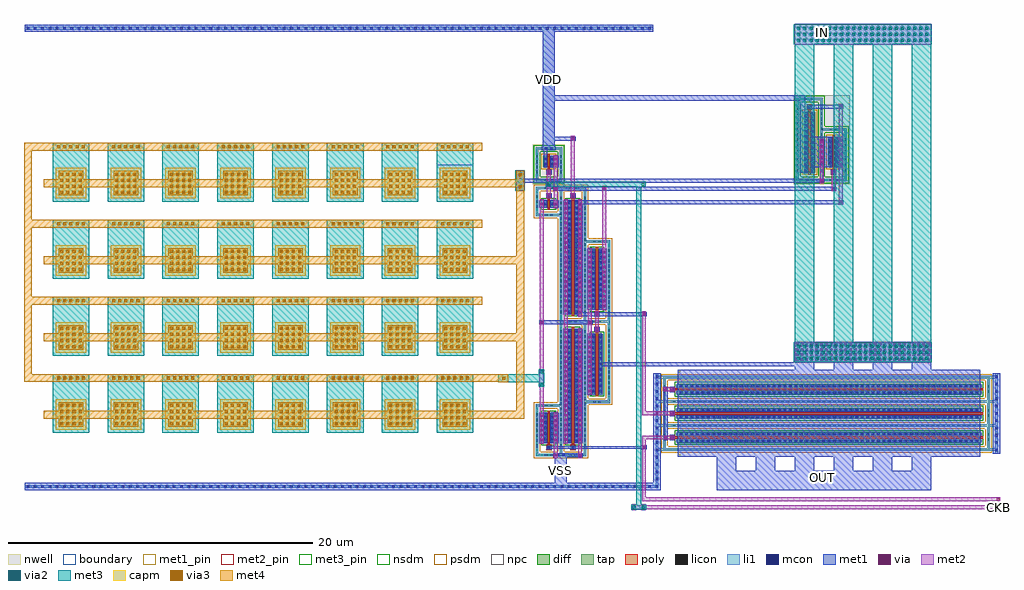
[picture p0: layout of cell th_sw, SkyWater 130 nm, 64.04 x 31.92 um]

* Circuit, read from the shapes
.subckt th_sw CK CKB IN OUT VDD VSS
XM1 VSS CK n1 VSS sky130_fd_pr__nfet_01v8 w=2 l=0.15
XM2 n2 CKB n1 VSS sky130_fd_pr__nfet_01v8 w=0.5 l=0.15
XM3 VSS CK n3 VSS sky130_fd_pr__nfet_01v8 w=7.5 l=0.15
XM4 bootstrap_0/VGS VDD n3 VSS sky130_fd_pr__nfet_01v8 w=7.5 l=0.15
XM5 IN bootstrap_0/VGS n1 VSS sky130_fd_pr__nfet_01v8 w=4 l=0.15
XM6 n2 bootstrap_0/VGS n1 VSS sky130_fd_pr__nfet_01v8 w=4 l=0.15
XM7 OUT CK OUT VSS sky130_fd_pr__nfet_01v8 w=20 l=0.15
XM8 IN bootstrap_0/VGS OUT VSS sky130_fd_pr__nfet_01v8 w=20 l=0.15
XM9 IN CK IN VSS sky130_fd_pr__nfet_01v8 w=20 l=0.15
XM10 n2 CKB VDD VDD sky130_fd_pr__pfet_01v8 w=0.75 l=0.15
XM11 n4 bootstrap_0/VGS VDD n4 sky130_fd_pr__pfet_01v8 w=4 l=0.15
XM12 bootstrap_0/VGS n2 n4 n4 sky130_fd_pr__pfet_01v8 w=2 l=0.15
XC13 n4 n1 sky130_fd_pr__cap_mim_m3_1 w=2 l=2 m=32
.ends

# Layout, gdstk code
from math import pi, radians
import gdstk
lib = gdstk.Library(unit=1e-6, precision=1e-09)
def R(c, l, rs):  # rectangles x0, y0, x1, y1
    for r in rs: c.add(gdstk.rectangle(r[:2], r[2:], *l))
def A(c, l, x, y, w, h, nx, ny, dx, dy):  # array of equal rectangles
    R(c, l, [(x+i*dx, y+j*dy, x+i*dx+w, y+j*dy+h) for i in range(nx) for j in range(ny)])
nwell = (64, 20)
diff = (65, 20)
tap = (65, 44)
poly = (66, 20)
licon = (66, 44)
li1 = (67, 20)
mcon = (67, 44)
met1_pin = (68, 16)
met1 = (68, 20)
via = (68, 44)
met2_pin = (69, 16)
met2 = (69, 20)
via2 = (69, 44)
met3_pin = (70, 16)
met3 = (70, 20)
via3 = (70, 44)
met4 = (71, 20)
capm = (89, 44)
nsdm = (93, 44)
psdm = (94, 20)
npc = (95, 20)
boundary = (235, 4)

sky130_fd_pr__cap_mim_m3 = lib.new_cell('sky130_fd_pr__cap_mim_m3_1_BP38H4')
A(sky130_fd_pr__cap_mim_m3, met3, -9.52, -13.8, 3.86, 2.4, 4, 8, 5.06, 3.6)
A(sky130_fd_pr__cap_mim_m3, via3, -6.02, -13.5, 0.2, 0.2, 4, 5, 5.06, 0.4)
A(sky130_fd_pr__cap_mim_m3, via3, -9.02, -13.3, 0.2, 0.2, 4, 4, 0.4, 0.4)
A(sky130_fd_pr__cap_mim_m3, via3, -3.96, -13.3, 0.2, 0.2, 4, 4, 0.4, 0.4)
A(sky130_fd_pr__cap_mim_m3, via3, 1.1, -13.3, 0.2, 0.2, 4, 4, 0.4, 0.4)
A(sky130_fd_pr__cap_mim_m3, via3, 6.16, -13.3, 0.2, 0.2, 4, 4, 0.4, 0.4)
A(sky130_fd_pr__cap_mim_m3, via3, -6.02, -9.9, 0.2, 0.2, 4, 5, 5.06, 0.4)
A(sky130_fd_pr__cap_mim_m3, via3, -9.02, -9.7, 0.2, 0.2, 4, 4, 0.4, 0.4)
A(sky130_fd_pr__cap_mim_m3, via3, -3.96, -9.7, 0.2, 0.2, 4, 4, 0.4, 0.4)
A(sky130_fd_pr__cap_mim_m3, via3, 1.1, -9.7, 0.2, 0.2, 4, 4, 0.4, 0.4)
A(sky130_fd_pr__cap_mim_m3, via3, 6.16, -9.7, 0.2, 0.2, 4, 4, 0.4, 0.4)
A(sky130_fd_pr__cap_mim_m3, via3, -6.02, -6.3, 0.2, 0.2, 4, 5, 5.06, 0.4)
A(sky130_fd_pr__cap_mim_m3, via3, -9.02, -6.1, 0.2, 0.2, 4, 4, 0.4, 0.4)
A(sky130_fd_pr__cap_mim_m3, via3, -3.96, -6.1, 0.2, 0.2, 4, 4, 0.4, 0.4)
A(sky130_fd_pr__cap_mim_m3, via3, 1.1, -6.1, 0.2, 0.2, 4, 4, 0.4, 0.4)
A(sky130_fd_pr__cap_mim_m3, via3, 6.16, -6.1, 0.2, 0.2, 4, 4, 0.4, 0.4)
A(sky130_fd_pr__cap_mim_m3, via3, -6.02, -2.7, 0.2, 0.2, 4, 5, 5.06, 0.4)
A(sky130_fd_pr__cap_mim_m3, via3, -9.02, -2.5, 0.2, 0.2, 4, 4, 0.4, 0.4)
A(sky130_fd_pr__cap_mim_m3, via3, -3.96, -2.5, 0.2, 0.2, 4, 4, 0.4, 0.4)
A(sky130_fd_pr__cap_mim_m3, via3, 1.1, -2.5, 0.2, 0.2, 4, 4, 0.4, 0.4)
A(sky130_fd_pr__cap_mim_m3, via3, 6.16, -2.5, 0.2, 0.2, 4, 4, 0.4, 0.4)
A(sky130_fd_pr__cap_mim_m3, via3, -6.02, 0.9, 0.2, 0.2, 4, 5, 5.06, 0.4)
A(sky130_fd_pr__cap_mim_m3, via3, -9.02, 1.1, 0.2, 0.2, 4, 4, 0.4, 0.4)
A(sky130_fd_pr__cap_mim_m3, via3, -3.96, 1.1, 0.2, 0.2, 4, 4, 0.4, 0.4)
A(sky130_fd_pr__cap_mim_m3, via3, 1.1, 1.1, 0.2, 0.2, 4, 4, 0.4, 0.4)
A(sky130_fd_pr__cap_mim_m3, via3, 6.16, 1.1, 0.2, 0.2, 4, 4, 0.4, 0.4)
A(sky130_fd_pr__cap_mim_m3, via3, -6.02, 4.5, 0.2, 0.2, 4, 5, 5.06, 0.4)
A(sky130_fd_pr__cap_mim_m3, via3, -9.02, 4.7, 0.2, 0.2, 4, 4, 0.4, 0.4)
A(sky130_fd_pr__cap_mim_m3, via3, -3.96, 4.7, 0.2, 0.2, 4, 4, 0.4, 0.4)
A(sky130_fd_pr__cap_mim_m3, via3, 1.1, 4.7, 0.2, 0.2, 4, 4, 0.4, 0.4)
A(sky130_fd_pr__cap_mim_m3, via3, 6.16, 4.7, 0.2, 0.2, 4, 4, 0.4, 0.4)
A(sky130_fd_pr__cap_mim_m3, via3, -6.02, 8.1, 0.2, 0.2, 4, 5, 5.06, 0.4)
A(sky130_fd_pr__cap_mim_m3, via3, -9.02, 8.3, 0.2, 0.2, 4, 4, 0.4, 0.4)
A(sky130_fd_pr__cap_mim_m3, via3, -3.96, 8.3, 0.2, 0.2, 4, 4, 0.4, 0.4)
A(sky130_fd_pr__cap_mim_m3, via3, 1.1, 8.3, 0.2, 0.2, 4, 4, 0.4, 0.4)
A(sky130_fd_pr__cap_mim_m3, via3, 6.16, 8.3, 0.2, 0.2, 4, 4, 0.4, 0.4)
A(sky130_fd_pr__cap_mim_m3, via3, -6.02, 11.7, 0.2, 0.2, 4, 5, 5.06, 0.4)
A(sky130_fd_pr__cap_mim_m3, via3, -9.02, 11.9, 0.2, 0.2, 4, 4, 0.4, 0.4)
A(sky130_fd_pr__cap_mim_m3, via3, -3.96, 11.9, 0.2, 0.2, 4, 4, 0.4, 0.4)
A(sky130_fd_pr__cap_mim_m3, via3, 1.1, 11.9, 0.2, 0.2, 4, 4, 0.4, 0.4)
A(sky130_fd_pr__cap_mim_m3, via3, 6.16, 11.9, 0.2, 0.2, 4, 4, 0.4, 0.4)
A(sky130_fd_pr__cap_mim_m3, met4, -8.58, -14.4, 0.52, 0.995, 4, 2, 5.06, 27.805)
A(sky130_fd_pr__cap_mim_m3, met4, -6.18, -14.4, 0.52, 28.8, 4, 1, 5.06, 0)
A(sky130_fd_pr__cap_mim_m3, met4, -9.125, -13.405, 1.61, 1.61, 4, 8, 5.06, 3.6)
A(sky130_fd_pr__cap_mim_m3, met4, -8.58, -11.795, 0.52, 1.99, 4, 7, 5.06, 3.6)
A(sky130_fd_pr__cap_mim_m3, capm, -9.32, -13.6, 2, 2, 4, 8, 5.06, 3.6)
R(sky130_fd_pr__cap_mim_m3, boundary, [(5.66,11.4,8.06,13.8)])

sky130_fd_pr__nfet_01v8_ = lib.new_cell('sky130_fd_pr__nfet_01v8_CQKS6Z')
R(sky130_fd_pr__nfet_01v8_, diff, [(-0.365,-0.405,0.365,0.095)])
R(sky130_fd_pr__nfet_01v8_, tap, [(-0.875,-0.965,0.875,-0.795), (-0.875,-0.795,-0.705,0.795), (0.705,-0.795,0.875,0.795), (-0.875,0.795,0.875,0.965)])
R(sky130_fd_pr__nfet_01v8_, poly, [(-0.075,-0.535,0.075,0.205), (-0.165,0.205,0.165,0.535)])
A(sky130_fd_pr__nfet_01v8_, licon, -0.875, -0.425, 0.17, 0.17, 1, 3, 0, 0.34)
R(sky130_fd_pr__nfet_01v8_, licon, [(-0.255,-0.965,-0.085,-0.795), (0.085,-0.965,0.255,-0.795), (-0.305,-0.24,-0.135,-0.07), (0.135,-0.24,0.305,-0.07), (-0.085,0.285,0.085,0.455), (-0.255,0.795,-0.085,0.965), (0.085,0.795,0.255,0.965)])
R(sky130_fd_pr__nfet_01v8_, li1, [(-0.875,-0.965,0.875,-0.795), (-0.875,-0.795,-0.705,0.795), (0.705,-0.795,0.875,0.795), (-0.305,-0.425,-0.135,0.115), (0.135,-0.425,0.305,0.115), (-0.165,0.285,0.165,0.455), (-0.875,0.795,0.875,0.965)])
R(sky130_fd_pr__nfet_01v8_, mcon, [(-0.305,-0.24,-0.135,-0.07), (0.135,-0.24,0.305,-0.07), (-0.085,0.285,0.085,0.455)])
R(sky130_fd_pr__nfet_01v8_, met1, [(-0.335,-0.405,-0.105,0.095), (0.105,-0.405,0.335,0.095), (-0.145,0.255,0.145,0.485)])
R(sky130_fd_pr__nfet_01v8_, nsdm, [(-0.49,-0.53,0.49,0.22)])
R(sky130_fd_pr__nfet_01v8_, psdm, [(-1,-1.09,1,-0.67), (-1,-0.67,-0.58,0.67), (0.58,-0.67,1,0.67), (-1,0.67,1,1.09)])
R(sky130_fd_pr__nfet_01v8_, npc, [(-0.185,0.185,0.185,0.555)])
R(sky130_fd_pr__nfet_01v8_, boundary, [(-0.79,-0.88,0.79,0.88)])

sky130_fd_pr__pfet_01v8_ = lib.new_cell('sky130_fd_pr__pfet_01v8_LGMQDL')
R(sky130_fd_pr__pfet_01v8_, nwell, [(-1.055,-1.92,1.055,1.92)])
R(sky130_fd_pr__pfet_01v8_, diff, [(-0.365,-0.82,0.365,1.18)])
R(sky130_fd_pr__pfet_01v8_, tap, [(-0.875,-1.74,0.875,-1.57), (-0.875,-1.57,-0.705,1.57), (0.705,-1.57,0.875,1.57), (-0.875,1.57,0.875,1.74)])
R(sky130_fd_pr__pfet_01v8_, poly, [(-0.165,-1.305,0.165,-0.975), (-0.075,-0.975,0.075,1.31)])
A(sky130_fd_pr__pfet_01v8_, licon, 0.705, -1.105, 0.17, 0.17, 1, 7, 0, 0.34)
A(sky130_fd_pr__pfet_01v8_, licon, -0.305, -0.755, 0.17, 0.17, 1, 6, 0, 0.34)
A(sky130_fd_pr__pfet_01v8_, licon, 0.135, -0.755, 0.17, 0.17, 1, 6, 0, 0.34)
R(sky130_fd_pr__pfet_01v8_, licon, [(-0.255,-1.74,-0.085,-1.57), (0.085,-1.74,0.255,-1.57), (-0.085,-1.225,0.085,-1.055), (-0.255,1.57,-0.085,1.74), (0.085,1.57,0.255,1.74)])
R(sky130_fd_pr__pfet_01v8_, li1, [(-0.875,-1.74,0.875,-1.57), (-0.875,-1.57,-0.705,1.57), (0.705,-1.57,0.875,1.57), (-0.165,-1.225,0.165,-1.055), (-0.305,-0.84,-0.135,1.2), (0.135,-0.84,0.305,1.2), (-0.875,1.57,0.875,1.74)])
A(sky130_fd_pr__pfet_01v8_, mcon, -0.305, -0.625, 0.17, 0.17, 1, 5, 0, 0.36)
A(sky130_fd_pr__pfet_01v8_, mcon, 0.135, -0.625, 0.17, 0.17, 1, 5, 0, 0.36)
R(sky130_fd_pr__pfet_01v8_, mcon, [(-0.085,-1.225,0.085,-1.055)])
R(sky130_fd_pr__pfet_01v8_, met1, [(-0.145,-1.255,0.145,-1.025), (-0.335,-0.82,-0.105,1.18), (0.105,-0.82,0.335,1.18)])
R(sky130_fd_pr__pfet_01v8_, nsdm, [(-1,-1.865,1,-1.445), (-1,-1.445,-0.58,1.445), (0.58,-1.445,1,1.445), (-1,1.445,1,1.865)])
R(sky130_fd_pr__pfet_01v8_, psdm, [(-0.49,-0.945,0.49,1.305)])
R(sky130_fd_pr__pfet_01v8_, npc, [(-0.185,-1.325,0.185,-0.955)])
R(sky130_fd_pr__pfet_01v8_, boundary, [(-0.79,-1.655,0.79,1.655)])

c_sky130_fd_pr__pfet_01v8_ = lib.new_cell('sky130_fd_pr__pfet_01v8_MGASDN')
R(c_sky130_fd_pr__pfet_01v8_, nwell, [(-1.055,-2.92,1.055,2.92)])
R(c_sky130_fd_pr__pfet_01v8_, diff, [(-0.365,-2.18,0.365,1.82)])
R(c_sky130_fd_pr__pfet_01v8_, tap, [(-0.875,-2.74,0.875,-2.57), (-0.875,-2.57,-0.705,2.57), (0.705,-2.57,0.875,2.57), (-0.875,2.57,0.875,2.74)])
R(c_sky130_fd_pr__pfet_01v8_, poly, [(-0.075,-2.31,0.075,1.975), (-0.165,1.975,0.165,2.305)])
A(c_sky130_fd_pr__pfet_01v8_, licon, -0.875, -2.125, 0.17, 0.17, 1, 13, 0, 0.34)
A(c_sky130_fd_pr__pfet_01v8_, licon, 0.705, -2.125, 0.17, 0.17, 1, 13, 0, 0.34)
A(c_sky130_fd_pr__pfet_01v8_, licon, -0.305, -1.965, 0.17, 0.17, 1, 11, 0, 0.34)
A(c_sky130_fd_pr__pfet_01v8_, licon, 0.135, -1.965, 0.17, 0.17, 1, 11, 0, 0.34)
R(c_sky130_fd_pr__pfet_01v8_, licon, [(-0.255,-2.74,-0.085,-2.57), (0.085,-2.74,0.255,-2.57), (-0.085,2.055,0.085,2.225), (-0.255,2.57,-0.085,2.74), (0.085,2.57,0.255,2.74)])
R(c_sky130_fd_pr__pfet_01v8_, li1, [(-0.875,-2.74,0.875,-2.57), (-0.875,-2.57,-0.705,2.57), (0.705,-2.57,0.875,2.57), (-0.305,-2.2,-0.135,1.84), (0.135,-2.2,0.305,1.84), (-0.165,2.055,0.165,2.225), (-0.875,2.57,0.875,2.74)])
A(c_sky130_fd_pr__pfet_01v8_, mcon, -0.305, -2.065, 0.17, 0.17, 1, 11, 0, 0.36)
A(c_sky130_fd_pr__pfet_01v8_, mcon, 0.135, -2.065, 0.17, 0.17, 1, 11, 0, 0.36)
R(c_sky130_fd_pr__pfet_01v8_, mcon, [(-0.085,2.055,0.085,2.225)])
R(c_sky130_fd_pr__pfet_01v8_, met1, [(-0.335,-2.18,-0.105,1.82), (0.105,-2.18,0.335,1.82), (-0.145,2.025,0.145,2.255)])
R(c_sky130_fd_pr__pfet_01v8_, nsdm, [(-1,-2.865,1,-2.445), (-1,-2.445,-0.58,2.445), (0.58,-2.445,1,2.445), (-1,2.445,1,2.865)])
R(c_sky130_fd_pr__pfet_01v8_, psdm, [(-0.49,-2.305,0.49,1.945)])
R(c_sky130_fd_pr__pfet_01v8_, npc, [(-0.185,1.955,0.185,2.325)])
R(c_sky130_fd_pr__pfet_01v8_, boundary, [(-0.79,-2.655,0.79,2.655)])

c_sky130_fd_pr__pfet_01v8__ = lib.new_cell('sky130_fd_pr__pfet_01v8_27QFPY')
R(c_sky130_fd_pr__pfet_01v8__, nwell, [(-1.055,-1.295,1.055,1.295)])
R(c_sky130_fd_pr__pfet_01v8__, diff, [(-0.365,-0.195,0.365,0.555)])
R(c_sky130_fd_pr__pfet_01v8__, tap, [(-0.875,-1.115,0.875,-0.945), (-0.875,-0.945,-0.705,0.945), (0.705,-0.945,0.875,0.945), (-0.875,0.945,0.875,1.115)])
R(c_sky130_fd_pr__pfet_01v8__, poly, [(-0.165,-0.68,0.165,-0.35), (-0.075,-0.35,0.075,0.685)])
A(c_sky130_fd_pr__pfet_01v8__, licon, -0.875, -0.595, 0.17, 0.17, 1, 4, 0, 0.34)
A(c_sky130_fd_pr__pfet_01v8__, licon, 0.705, -0.595, 0.17, 0.17, 1, 4, 0, 0.34)
R(c_sky130_fd_pr__pfet_01v8__, licon, [(-0.255,-1.115,-0.085,-0.945), (0.085,-1.115,0.255,-0.945), (-0.085,-0.6,0.085,-0.43), (-0.305,-0.075,-0.135,0.095), (0.135,-0.075,0.305,0.095), (-0.305,0.265,-0.135,0.435), (0.135,0.265,0.305,0.435), (-0.255,0.945,-0.085,1.115), (0.085,0.945,0.255,1.115)])
R(c_sky130_fd_pr__pfet_01v8__, li1, [(-0.875,-1.115,0.875,-0.945), (-0.875,-0.945,-0.705,0.945), (0.705,-0.945,0.875,0.945), (-0.165,-0.6,0.165,-0.43), (-0.305,-0.215,-0.135,0.575), (0.135,-0.215,0.305,0.575), (-0.875,0.945,0.875,1.115)])
R(c_sky130_fd_pr__pfet_01v8__, mcon, [(-0.085,-0.6,0.085,-0.43), (-0.305,-0.085,-0.135,0.085), (0.135,-0.085,0.305,0.085), (-0.305,0.275,-0.135,0.445), (0.135,0.275,0.305,0.445)])
R(c_sky130_fd_pr__pfet_01v8__, met1, [(-0.145,-0.63,0.145,-0.4), (-0.335,-0.195,-0.105,0.555), (0.105,-0.195,0.335,0.555)])
R(c_sky130_fd_pr__pfet_01v8__, nsdm, [(-1,-1.24,1,-0.82), (-1,-0.82,-0.58,0.82), (0.58,-0.82,1,0.82), (-1,0.82,1,1.24)])
R(c_sky130_fd_pr__pfet_01v8__, psdm, [(-0.49,-0.32,0.49,0.68)])
R(c_sky130_fd_pr__pfet_01v8__, npc, [(-0.185,-0.7,0.185,-0.33)])
R(c_sky130_fd_pr__pfet_01v8__, boundary, [(-0.79,-1.03,0.79,1.03)])

c_sky130_fd_pr__nfet_01v8_ = lib.new_cell('sky130_fd_pr__nfet_01v8_D47ZC5')
R(c_sky130_fd_pr__nfet_01v8_, diff, [(-0.365,-3.595,0.365,3.905)])
R(c_sky130_fd_pr__nfet_01v8_, tap, [(-0.875,-4.465,0.875,-4.295), (-0.875,-4.295,-0.705,4.295), (0.705,-4.295,0.875,4.295), (-0.875,4.295,0.875,4.465)])
R(c_sky130_fd_pr__nfet_01v8_, poly, [(-0.165,-4.035,0.165,-3.705), (-0.075,-3.705,0.075,4.035)])
A(c_sky130_fd_pr__nfet_01v8_, licon, -0.875, -3.825, 0.17, 0.17, 1, 23, 0, 0.34)
A(c_sky130_fd_pr__nfet_01v8_, licon, 0.705, -3.825, 0.17, 0.17, 1, 23, 0, 0.34)
A(c_sky130_fd_pr__nfet_01v8_, licon, -0.305, -3.5, 0.17, 0.17, 1, 22, 0, 0.34)
A(c_sky130_fd_pr__nfet_01v8_, licon, 0.135, -3.5, 0.17, 0.17, 1, 22, 0, 0.34)
R(c_sky130_fd_pr__nfet_01v8_, licon, [(-0.255,-4.465,-0.085,-4.295), (0.085,-4.465,0.255,-4.295), (-0.085,-3.955,0.085,-3.785), (-0.255,4.295,-0.085,4.465), (0.085,4.295,0.255,4.465)])
R(c_sky130_fd_pr__nfet_01v8_, li1, [(-0.875,-4.465,0.875,-4.295), (-0.875,-4.295,-0.705,4.295), (0.705,-4.295,0.875,4.295), (-0.165,-3.955,0.165,-3.785), (-0.305,-3.615,-0.135,3.925), (0.135,-3.615,0.305,3.925), (-0.875,4.295,0.875,4.465)])
A(c_sky130_fd_pr__nfet_01v8_, mcon, -0.305, -3.53, 0.17, 0.17, 1, 21, 0, 0.36)
A(c_sky130_fd_pr__nfet_01v8_, mcon, 0.135, -3.53, 0.17, 0.17, 1, 21, 0, 0.36)
R(c_sky130_fd_pr__nfet_01v8_, mcon, [(-0.085,-3.955,0.085,-3.785)])
R(c_sky130_fd_pr__nfet_01v8_, met1, [(-0.145,-3.985,0.145,-3.755), (-0.335,-3.595,-0.105,3.905), (0.105,-3.595,0.335,3.905)])
R(c_sky130_fd_pr__nfet_01v8_, nsdm, [(-0.49,-3.72,0.49,4.03)])
R(c_sky130_fd_pr__nfet_01v8_, psdm, [(-1,-4.59,1,-4.17), (-1,-4.17,-0.58,4.17), (0.58,-4.17,1,4.17), (-1,4.17,1,4.59)])
R(c_sky130_fd_pr__nfet_01v8_, npc, [(-0.185,-4.055,0.185,-3.685)])
R(c_sky130_fd_pr__nfet_01v8_, boundary, [(-0.79,-4.38,0.79,4.38)])

c_sky130_fd_pr__nfet_01v8__ = lib.new_cell('sky130_fd_pr__nfet_01v8_D4Y996')
R(c_sky130_fd_pr__nfet_01v8__, diff, [(-0.365,-3.905,0.365,3.595)])
R(c_sky130_fd_pr__nfet_01v8__, tap, [(-0.875,-4.465,0.875,-4.295), (-0.875,-4.295,-0.705,4.295), (0.705,-4.295,0.875,4.295), (-0.875,4.295,0.875,4.465)])
R(c_sky130_fd_pr__nfet_01v8__, poly, [(-0.075,-4.035,0.075,3.705), (-0.165,3.705,0.165,4.035)])
A(c_sky130_fd_pr__nfet_01v8__, licon, -0.875, -3.825, 0.17, 0.17, 1, 23, 0, 0.34)
A(c_sky130_fd_pr__nfet_01v8__, licon, 0.705, -3.825, 0.17, 0.17, 1, 23, 0, 0.34)
A(c_sky130_fd_pr__nfet_01v8__, licon, -0.305, -3.81, 0.17, 0.17, 1, 22, 0, 0.34)
A(c_sky130_fd_pr__nfet_01v8__, licon, 0.135, -3.81, 0.17, 0.17, 1, 22, 0, 0.34)
R(c_sky130_fd_pr__nfet_01v8__, licon, [(-0.255,-4.465,-0.085,-4.295), (0.085,-4.465,0.255,-4.295), (-0.085,3.785,0.085,3.955), (-0.255,4.295,-0.085,4.465), (0.085,4.295,0.255,4.465)])
R(c_sky130_fd_pr__nfet_01v8__, li1, [(-0.875,-4.465,0.875,-4.295), (-0.875,-4.295,-0.705,4.295), (0.705,-4.295,0.875,4.295), (-0.305,-3.925,-0.135,3.615), (0.135,-3.925,0.305,3.615), (-0.165,3.785,0.165,3.955), (-0.875,4.295,0.875,4.465)])
A(c_sky130_fd_pr__nfet_01v8__, mcon, -0.305, -3.84, 0.17, 0.17, 1, 21, 0, 0.36)
A(c_sky130_fd_pr__nfet_01v8__, mcon, 0.135, -3.84, 0.17, 0.17, 1, 21, 0, 0.36)
R(c_sky130_fd_pr__nfet_01v8__, mcon, [(-0.085,3.785,0.085,3.955)])
R(c_sky130_fd_pr__nfet_01v8__, met1, [(-0.335,-3.905,-0.105,3.595), (0.105,-3.905,0.335,3.595), (-0.145,3.755,0.145,3.985)])
R(c_sky130_fd_pr__nfet_01v8__, nsdm, [(-0.49,-4.03,0.49,3.72)])
R(c_sky130_fd_pr__nfet_01v8__, psdm, [(-1,-4.59,1,-4.17), (-1,-4.17,-0.58,4.17), (0.58,-4.17,1,4.17), (-1,4.17,1,4.59)])
R(c_sky130_fd_pr__nfet_01v8__, npc, [(-0.185,3.685,0.185,4.055)])
R(c_sky130_fd_pr__nfet_01v8__, boundary, [(-0.79,-4.38,0.79,4.38)])

c_sky130_fd_pr__nfet_01v8___ = lib.new_cell('sky130_fd_pr__nfet_01v8_J47Z3J')
R(c_sky130_fd_pr__nfet_01v8___, diff, [(-0.365,-1.845,0.365,2.155)])
R(c_sky130_fd_pr__nfet_01v8___, tap, [(-0.875,-2.715,0.875,-2.545), (-0.875,-2.545,-0.705,2.545), (0.705,-2.545,0.875,2.545), (-0.875,2.545,0.875,2.715)])
R(c_sky130_fd_pr__nfet_01v8___, poly, [(-0.165,-2.285,0.165,-1.955), (-0.075,-1.955,0.075,2.285)])
A(c_sky130_fd_pr__nfet_01v8___, licon, 0.705, -2.125, 0.17, 0.17, 1, 13, 0, 0.34)
A(c_sky130_fd_pr__nfet_01v8___, licon, -0.305, -1.63, 0.17, 0.17, 1, 11, 0, 0.34)
A(c_sky130_fd_pr__nfet_01v8___, licon, 0.135, -1.63, 0.17, 0.17, 1, 11, 0, 0.34)
R(c_sky130_fd_pr__nfet_01v8___, licon, [(-0.255,-2.715,-0.085,-2.545), (0.085,-2.715,0.255,-2.545), (-0.085,-2.205,0.085,-2.035), (-0.255,2.545,-0.085,2.715), (0.085,2.545,0.255,2.715)])
R(c_sky130_fd_pr__nfet_01v8___, li1, [(-0.875,-2.715,0.875,-2.545), (-0.875,-2.545,-0.705,2.545), (0.705,-2.545,0.875,2.545), (-0.165,-2.205,0.165,-2.035), (-0.305,-1.865,-0.135,2.175), (0.135,-1.865,0.305,2.175), (-0.875,2.545,0.875,2.715)])
A(c_sky130_fd_pr__nfet_01v8___, mcon, -0.305, -1.73, 0.17, 0.17, 1, 11, 0, 0.36)
A(c_sky130_fd_pr__nfet_01v8___, mcon, 0.135, -1.73, 0.17, 0.17, 1, 11, 0, 0.36)
R(c_sky130_fd_pr__nfet_01v8___, mcon, [(-0.085,-2.205,0.085,-2.035)])
R(c_sky130_fd_pr__nfet_01v8___, met1, [(-0.145,-2.235,0.145,-2.005), (-0.335,-1.845,-0.105,2.155), (0.105,-1.845,0.335,2.155)])
R(c_sky130_fd_pr__nfet_01v8___, nsdm, [(-0.49,-1.97,0.49,2.28)])
R(c_sky130_fd_pr__nfet_01v8___, psdm, [(-1,-2.84,1,-2.42), (-1,-2.42,-0.58,2.42), (0.58,-2.42,1,2.42), (-1,2.42,1,2.84)])
R(c_sky130_fd_pr__nfet_01v8___, npc, [(-0.185,-2.305,0.185,-1.935)])
R(c_sky130_fd_pr__nfet_01v8___, boundary, [(-0.79,-2.63,0.79,2.63)])

c_sky130_fd_pr__nfet_01v8____ = lib.new_cell('sky130_fd_pr__nfet_01v8_46WN23')
R(c_sky130_fd_pr__nfet_01v8____, diff, [(-0.365,-0.845,0.365,1.155)])
R(c_sky130_fd_pr__nfet_01v8____, tap, [(-0.875,-1.715,0.875,-1.545), (-0.875,-1.545,-0.705,1.545), (0.705,-1.545,0.875,1.545), (-0.875,1.545,0.875,1.715)])
R(c_sky130_fd_pr__nfet_01v8____, poly, [(-0.165,-1.285,0.165,-0.955), (-0.075,-0.955,0.075,1.285)])
A(c_sky130_fd_pr__nfet_01v8____, licon, -0.875, -1.105, 0.17, 0.17, 1, 7, 0, 0.34)
A(c_sky130_fd_pr__nfet_01v8____, licon, -0.305, -0.78, 0.17, 0.17, 1, 6, 0, 0.34)
A(c_sky130_fd_pr__nfet_01v8____, licon, 0.135, -0.78, 0.17, 0.17, 1, 6, 0, 0.34)
R(c_sky130_fd_pr__nfet_01v8____, licon, [(-0.255,-1.715,-0.085,-1.545), (0.085,-1.715,0.255,-1.545), (-0.085,-1.205,0.085,-1.035), (-0.255,1.545,-0.085,1.715), (0.085,1.545,0.255,1.715)])
R(c_sky130_fd_pr__nfet_01v8____, li1, [(-0.875,-1.715,0.875,-1.545), (-0.875,-1.545,-0.705,1.545), (0.705,-1.545,0.875,1.545), (-0.165,-1.205,0.165,-1.035), (-0.305,-0.865,-0.135,1.175), (0.135,-0.865,0.305,1.175), (-0.875,1.545,0.875,1.715)])
A(c_sky130_fd_pr__nfet_01v8____, mcon, -0.305, -0.65, 0.17, 0.17, 1, 5, 0, 0.36)
A(c_sky130_fd_pr__nfet_01v8____, mcon, 0.135, -0.65, 0.17, 0.17, 1, 5, 0, 0.36)
R(c_sky130_fd_pr__nfet_01v8____, mcon, [(-0.085,-1.205,0.085,-1.035)])
R(c_sky130_fd_pr__nfet_01v8____, met1, [(-0.145,-1.235,0.145,-1.005), (-0.335,-0.845,-0.105,1.155), (0.105,-0.845,0.335,1.155)])
R(c_sky130_fd_pr__nfet_01v8____, nsdm, [(-0.49,-0.97,0.49,1.28)])
R(c_sky130_fd_pr__nfet_01v8____, psdm, [(-1,-1.84,1,-1.42), (-1,-1.42,-0.58,1.42), (0.58,-1.42,1,1.42), (-1,1.42,1,1.84)])
R(c_sky130_fd_pr__nfet_01v8____, npc, [(-0.185,-1.305,0.185,-0.935)])
R(c_sky130_fd_pr__nfet_01v8____, boundary, [(-0.79,-1.63,0.79,1.63)])

c_sky130_fd_pr__nfet_01v8_____ = lib.new_cell('sky130_fd_pr__nfet_01v8_J4Y94J')
R(c_sky130_fd_pr__nfet_01v8_____, diff, [(-0.365,-2.155,0.365,1.845)])
R(c_sky130_fd_pr__nfet_01v8_____, tap, [(-0.875,-2.715,0.875,-2.545), (-0.875,-2.545,-0.705,2.545), (0.705,-2.545,0.875,2.545), (-0.875,2.545,0.875,2.715)])
R(c_sky130_fd_pr__nfet_01v8_____, poly, [(-0.075,-2.285,0.075,1.955), (-0.165,1.955,0.165,2.285)])
A(c_sky130_fd_pr__nfet_01v8_____, licon, 0.705, -2.125, 0.17, 0.17, 1, 13, 0, 0.34)
A(c_sky130_fd_pr__nfet_01v8_____, licon, -0.305, -1.94, 0.17, 0.17, 1, 11, 0, 0.34)
A(c_sky130_fd_pr__nfet_01v8_____, licon, 0.135, -1.94, 0.17, 0.17, 1, 11, 0, 0.34)
R(c_sky130_fd_pr__nfet_01v8_____, licon, [(-0.255,-2.715,-0.085,-2.545), (0.085,-2.715,0.255,-2.545), (-0.085,2.035,0.085,2.205), (-0.255,2.545,-0.085,2.715), (0.085,2.545,0.255,2.715)])
R(c_sky130_fd_pr__nfet_01v8_____, li1, [(-0.875,-2.715,0.875,-2.545), (-0.875,-2.545,-0.705,2.545), (0.705,-2.545,0.875,2.545), (-0.305,-2.175,-0.135,1.865), (0.135,-2.175,0.305,1.865), (-0.165,2.035,0.165,2.205), (-0.875,2.545,0.875,2.715)])
A(c_sky130_fd_pr__nfet_01v8_____, mcon, -0.305, -2.04, 0.17, 0.17, 1, 11, 0, 0.36)
A(c_sky130_fd_pr__nfet_01v8_____, mcon, 0.135, -2.04, 0.17, 0.17, 1, 11, 0, 0.36)
R(c_sky130_fd_pr__nfet_01v8_____, mcon, [(-0.085,2.035,0.085,2.205)])
R(c_sky130_fd_pr__nfet_01v8_____, met1, [(-0.335,-2.155,-0.105,1.845), (0.105,-2.155,0.335,1.845), (-0.145,2.005,0.145,2.235)])
R(c_sky130_fd_pr__nfet_01v8_____, nsdm, [(-0.49,-2.28,0.49,1.97)])
R(c_sky130_fd_pr__nfet_01v8_____, psdm, [(-1,-2.84,1,-2.42), (-1,-2.42,-0.58,2.42), (0.58,-2.42,1,2.42), (-1,2.42,1,2.84)])
R(c_sky130_fd_pr__nfet_01v8_____, npc, [(-0.185,1.935,0.185,2.305)])
R(c_sky130_fd_pr__nfet_01v8_____, boundary, [(-0.79,-2.63,0.79,2.63)])

bootstrap = lib.new_cell('bootstrap')
R(bootstrap, nwell, [(16.845,-0.575,20.165,-0.28), (16.845,-0.28,20.535,5.265)])
R(bootstrap, li1, [(-33.6,-20.505,7.645,-20.335), (1.185,-18.445,1.975,-18.275), (18.605,0.695,18.775,2.355), (0.395,1.665,1.185,9.565), (-33.6,9.565,7.645,9.735)])
A(bootstrap, mcon, -33.48, -20.505, 0.17, 0.17, 86, 2, 0.48, 30.07)
A(bootstrap, mcon, 18.605, 0.72, 0.17, 0.17, 1, 5, 0, 0.36)
R(bootstrap, mcon, [(1.315,-18.445,1.485,-18.275), (1.675,-18.445,1.845,-18.275), (0.525,1.665,0.695,1.835), (0.885,1.665,1.055,1.835)])
R(bootstrap, met1_pin, [(7.32,-20.505,7.49,-20.335), (6.995,-17.935,7.165,-17.765), (6.95,-12.47,7.12,-12.3), (6.945,-9.195,7.115,-9.025), (7.32,9.565,7.49,9.735)])
R(bootstrap, met1, [(-33.6,-20.66,7.645,-20.18), (1.185,-20.18,1.975,-18.505), (1.075,-18.505,3.015,-18.245), (0.645,-17.935,7.165,-17.765), (0.145,-17.575,0.505,-15.575), (1.075,-17.575,1.435,-15.575), (1.725,-17.575,2.085,-10.075), (2.655,-17.575,3.015,-10.075), (3.305,-14.385,3.665,-10.385), (4.085,-12.555,4.255,-12.515), (4.085,-12.515,7.165,-12.255), (4.085,-12.255,4.255,-12.215), (3.77,-10.225,4.13,-9.965), (0.145,-9.775,3.665,-9.515), (2.655,-9.235,7.165,-8.975), (1.725,-9.125,2.085,-1.625), (2.655,-8.975,3.015,-1.885), (3.305,-8.815,3.665,-4.815), (4.235,-8.815,4.595,-4.815), (0.145,-2.125,0.505,-1.625), (1.075,-2.125,1.435,-1.625), (2.655,-1.885,20.125,-1.625), (0.61,-1.465,0.97,-1.205), (2.19,-1.465,2.55,-1.205), (-1.405,-1.005,-0.785,-0.485), (1.075,-1.005,19.66,-0.745), (-1.405,-0.485,18.87,-0.225), (-1.405,-0.225,-0.785,0.295), (0.61,0.055,0.97,0.315), (19.3,0.06,19.66,0.32), (17.255,0.165,17.615,4.905), (1.075,0.52,1.435,1.27), (18.035,0.525,19.35,2.525), (19.765,0.525,20.125,2.525), (0.455,1.1,0.685,1.635), (0.335,1.635,1.245,1.865), (0.395,1.865,1.185,2.275), (0.395,2.275,2.55,2.535), (0.395,2.535,1.185,4.905), (17.755,4.37,20.125,4.63), (0.395,4.905,17.615,5.265), (0.395,5.265,1.185,9.41), (-33.6,9.41,7.645,9.89)])
A(bootstrap, via, 0.25, -17.45, 0.15, 0.15, 1, 6, 0, 0.32)
A(bootstrap, via, 1.18, -17.45, 0.15, 0.15, 1, 6, 0, 0.32)
A(bootstrap, via, 1.83, -17.42, 0.15, 0.15, 1, 23, 0, 0.32)
A(bootstrap, via, 2.76, -17.42, 0.15, 0.15, 1, 23, 0, 0.32)
A(bootstrap, via, 3.41, -14.22, 0.15, 0.15, 1, 12, 0, 0.32)
A(bootstrap, via, 2.76, -9.025, 0.15, 0.15, 1, 23, 0, 0.32)
A(bootstrap, via, 1.83, -8.97, 0.15, 0.15, 1, 23, 0, 0.32)
A(bootstrap, via, 3.41, -8.65, 0.15, 0.15, 1, 12, 0, 0.32)
A(bootstrap, via, 4.34, -8.65, 0.15, 0.15, 1, 12, 0, 0.32)
A(bootstrap, via, 19.87, 0.65, 0.15, 0.15, 1, 6, 0, 0.32)
A(bootstrap, via, 18.615, 0.81, 0.15, 0.15, 1, 5, 0, 0.32)
R(bootstrap, via, [(1.18,-18.45,1.33,-18.3), (2.76,-18.45,2.91,-18.3), (3.875,-10.17,4.025,-10.02), (0.25,-9.72,0.4,-9.57), (3.41,-9.72,3.56,-9.57), (3.875,-9.18,4.025,-9.03), (0.25,-1.95,0.4,-1.8), (1.18,-1.95,1.33,-1.8), (19.87,-1.83,20.02,-1.68), (0.715,-1.41,0.865,-1.26), (2.295,-1.41,2.445,-1.26), (1.18,-0.95,1.33,-0.8), (4.34,-0.95,4.49,-0.8), (19.405,-0.95,19.555,-0.8), (-1.17,-0.82,-1.02,-0.67), (18.615,-0.43,18.765,-0.28), (-1.17,-0.04,-1.02,0.11), (0.715,0.11,0.865,0.26), (19.405,0.115,19.555,0.265), (1.18,0.66,1.33,0.81), (1.18,0.98,1.33,1.13), (2.295,2.33,2.445,2.48), (19.87,4.425,20.02,4.575)])
R(bootstrap, met2, [(1.125,-18.555,1.385,-15.525), (2.705,-18.555,2.965,-10.025), (0.195,-17.625,0.455,-13.895), (1.775,-17.625,2.035,-1.575), (3.355,-14.435,3.615,-4.765), (0.175,-13.895,0.455,-12.715), (0.195,-12.715,0.455,-1.575), (3.82,-10.275,4.08,-8.925), (2.705,-9.285,2.965,-1.575), (4.285,-8.865,4.545,-0.695), (1.125,-2.175,1.385,1.32), (19.815,-1.935,20.075,4.68), (0.66,-1.515,0.92,-0.765), (2.24,-1.515,2.5,2.585), (-1.355,-1.055,-0.835,-0.435), (19.35,-1.055,19.61,0.37), (0.64,-0.765,0.92,-0.385), (18.56,-0.535,18.82,2.405), (0.66,-0.385,0.92,0.365), (-1.355,-0.275,-0.835,0.345)])
R(bootstrap, via2, [(0.215,-13.805,0.415,-13.605), (0.215,-13.005,0.415,-12.805), (-1.195,-0.845,-0.995,-0.645), (0.68,-0.675,0.88,-0.475), (-1.195,-0.065,-0.995,0.135)])
R(bootstrap, met3_pin, [(6.89,-0.695,7.06,-0.525)])
R(bootstrap, met3, [(0.125,-13.87,0.505,-13.565), (-2.525,-13.565,0.505,-13.045), (0.125,-13.045,0.505,-12.74), (-1.405,-1.03,-0.785,0.32), (0.59,-0.74,7.165,-0.41)])
R(bootstrap, via3, [(-2.275,-13.405,-2.075,-13.205), (-1.195,-0.845,-0.995,-0.645), (-1.195,-0.065,-0.995,0.135)])
A(bootstrap, met4, -33.65, -13.04, 0.52, 4.54, 1, 3, 0, 5.06)
R(bootstrap, met4, [(-4.09,-15.96,-0.835,-15.44), (-1.355,-15.44,-0.835,-10.9), (-2.48,-13.57,-1.87,-13.56), (-33.65,-13.56,-31.715,-13.04), (-4.09,-13.56,-1.87,-13.04), (-4.09,-10.9,-0.835,-10.38), (-1.355,-10.38,-0.835,-5.84), (-33.65,-8.5,-31.84,-7.98), (-4.11,-5.84,-0.835,-5.32), (-1.355,-5.32,-0.835,-1.01), (-33.65,-3.44,-31.85,-2.92), (-1.36,-1.01,-0.83,-0.78), (-4.1,-0.78,-0.83,-0.26), (-1.36,-0.26,-0.83,0.3), (-33.65,1.62,-31.85,2.14)])
bootstrap.add(gdstk.Reference(sky130_fd_pr__cap_mim_m3, (-17.97,-7.38), rotation=pi/2, x_reflection=True))
bootstrap.add(gdstk.Reference(sky130_fd_pr__nfet_01v8_, (0.79,-1.72)))
bootstrap.add(gdstk.Reference(sky130_fd_pr__pfet_01v8_, (19.48,1.345)))
bootstrap.add(gdstk.Reference(c_sky130_fd_pr__pfet_01v8_, (17.9,2.345)))
bootstrap.add(gdstk.Reference(c_sky130_fd_pr__pfet_01v8__, (0.79,0.72)))
bootstrap.add(gdstk.Reference(c_sky130_fd_pr__nfet_01v8_, (2.37,-13.98)))
bootstrap.add(gdstk.Reference(c_sky130_fd_pr__nfet_01v8__, (2.37,-5.22)))
bootstrap.add(gdstk.Reference(c_sky130_fd_pr__nfet_01v8___, (3.95,-6.97)))
bootstrap.add(gdstk.Reference(c_sky130_fd_pr__nfet_01v8____, (0.79,-16.73)))
bootstrap.add(gdstk.Reference(c_sky130_fd_pr__nfet_01v8_____, (3.95,-12.23)))
bootstrap.add(gdstk.Label('CK', (7.08,-17.85), layer=68, texttype=5))
bootstrap.add(gdstk.Label('IN', (7.035,-12.385), layer=68, texttype=5))
bootstrap.add(gdstk.Label('VSS', (7.405,-20.42), layer=68, texttype=5))
bootstrap.add(gdstk.Label('VGS', (7.03,-9.11), layer=68, texttype=5))
bootstrap.add(gdstk.Label('VDD', (7.405,9.65), layer=68, texttype=5))
bootstrap.add(gdstk.Label('CKB', (6.975,-0.61), layer=70, texttype=5))

c_sky130_fd_pr__nfet_01v8______ = lib.new_cell('sky130_fd_pr__nfet_01v8_9HAEJX')
R(c_sky130_fd_pr__nfet_01v8______, diff, [(-0.365,-10.155,0.365,9.845)])
R(c_sky130_fd_pr__nfet_01v8______, tap, [(-0.875,-10.715,0.875,-10.545), (-0.875,-10.545,-0.705,10.545), (0.705,-10.545,0.875,10.545), (-0.875,10.545,0.875,10.715)])
R(c_sky130_fd_pr__nfet_01v8______, poly, [(-0.075,-10.285,0.075,9.955), (-0.165,9.955,0.165,10.285)])
A(c_sky130_fd_pr__nfet_01v8______, licon, 0.705, -10.115, 0.17, 0.17, 1, 60, 0, 0.34)
A(c_sky130_fd_pr__nfet_01v8______, licon, -0.305, -9.93, 0.17, 0.17, 1, 58, 0, 0.34)
A(c_sky130_fd_pr__nfet_01v8______, licon, 0.135, -9.93, 0.17, 0.17, 1, 58, 0, 0.34)
R(c_sky130_fd_pr__nfet_01v8______, licon, [(-0.255,-10.715,-0.085,-10.545), (0.085,-10.715,0.255,-10.545), (-0.085,10.035,0.085,10.205), (-0.255,10.545,-0.085,10.715), (0.085,10.545,0.255,10.715)])
R(c_sky130_fd_pr__nfet_01v8______, li1, [(-0.875,-10.715,0.875,-10.545), (-0.875,-10.545,-0.705,10.545), (0.705,-10.545,0.875,10.545), (-0.305,-10.175,-0.135,9.865), (0.135,-10.175,0.305,9.865), (-0.165,10.035,0.165,10.205), (-0.875,10.545,0.875,10.715)])
A(c_sky130_fd_pr__nfet_01v8______, mcon, -0.305, -9.96, 0.17, 0.17, 1, 55, 0, 0.36)
A(c_sky130_fd_pr__nfet_01v8______, mcon, 0.135, -9.96, 0.17, 0.17, 1, 55, 0, 0.36)
R(c_sky130_fd_pr__nfet_01v8______, mcon, [(-0.085,10.035,0.085,10.205)])
R(c_sky130_fd_pr__nfet_01v8______, met1, [(-0.335,-10.155,-0.105,9.845), (0.105,-10.155,0.335,9.845), (-0.145,10.005,0.145,10.235)])
R(c_sky130_fd_pr__nfet_01v8______, nsdm, [(-0.49,-10.28,0.49,9.97)])
R(c_sky130_fd_pr__nfet_01v8______, psdm, [(-1,-10.84,1,-10.42), (-1,-10.42,-0.58,10.42), (0.58,-10.42,1,10.42), (-1,10.42,1,10.84)])
R(c_sky130_fd_pr__nfet_01v8______, npc, [(-0.185,9.935,0.185,10.305)])
R(c_sky130_fd_pr__nfet_01v8______, boundary, [(-0.79,-10.63,0.79,10.63)])

c_sky130_fd_pr__nfet_01v8_______ = lib.new_cell('sky130_fd_pr__nfet_01v8_WBAE2P')
R(c_sky130_fd_pr__nfet_01v8_______, diff, [(-0.365,-10.155,0.365,9.845)])
R(c_sky130_fd_pr__nfet_01v8_______, tap, [(-0.875,-10.715,0.875,-10.545), (-0.875,-10.545,-0.705,10.545), (0.705,-10.545,0.875,10.545), (-0.875,10.545,0.875,10.715)])
R(c_sky130_fd_pr__nfet_01v8_______, poly, [(-0.075,-10.285,0.075,9.955), (-0.165,9.955,0.165,10.285)])
A(c_sky130_fd_pr__nfet_01v8_______, licon, -0.875, -10.115, 0.17, 0.17, 1, 60, 0, 0.34)
A(c_sky130_fd_pr__nfet_01v8_______, licon, 0.705, -10.115, 0.17, 0.17, 1, 60, 0, 0.34)
A(c_sky130_fd_pr__nfet_01v8_______, licon, -0.305, -9.93, 0.17, 0.17, 1, 58, 0, 0.34)
A(c_sky130_fd_pr__nfet_01v8_______, licon, 0.135, -9.93, 0.17, 0.17, 1, 58, 0, 0.34)
R(c_sky130_fd_pr__nfet_01v8_______, licon, [(-0.255,-10.715,-0.085,-10.545), (0.085,-10.715,0.255,-10.545), (-0.085,10.035,0.085,10.205), (-0.255,10.545,-0.085,10.715), (0.085,10.545,0.255,10.715)])
R(c_sky130_fd_pr__nfet_01v8_______, li1, [(-0.875,-10.715,0.875,-10.545), (-0.875,-10.545,-0.705,10.545), (0.705,-10.545,0.875,10.545), (-0.305,-10.175,-0.135,9.865), (0.135,-10.175,0.305,9.865), (-0.165,10.035,0.165,10.205), (-0.875,10.545,0.875,10.715)])
A(c_sky130_fd_pr__nfet_01v8_______, mcon, -0.305, -9.96, 0.17, 0.17, 1, 55, 0, 0.36)
A(c_sky130_fd_pr__nfet_01v8_______, mcon, 0.135, -9.96, 0.17, 0.17, 1, 55, 0, 0.36)
R(c_sky130_fd_pr__nfet_01v8_______, mcon, [(-0.085,10.035,0.085,10.205)])
R(c_sky130_fd_pr__nfet_01v8_______, met1, [(-0.335,-10.155,-0.105,9.845), (0.105,-10.155,0.335,9.845), (-0.145,10.005,0.145,10.235)])
R(c_sky130_fd_pr__nfet_01v8_______, nsdm, [(-0.49,-10.28,0.49,9.97)])
R(c_sky130_fd_pr__nfet_01v8_______, psdm, [(-1,-10.84,1,-10.42), (-1,-10.42,-0.58,10.42), (0.58,-10.42,1,10.42), (-1,10.42,1,10.84)])
R(c_sky130_fd_pr__nfet_01v8_______, npc, [(-0.185,9.935,0.185,10.305)])
R(c_sky130_fd_pr__nfet_01v8_______, boundary, [(-0.79,-10.63,0.79,10.63)])

c_sky130_fd_pr__nfet_01v8________ = lib.new_cell('sky130_fd_pr__nfet_01v8_9HAEH6')
R(c_sky130_fd_pr__nfet_01v8________, diff, [(-0.365,-10.155,0.365,9.845)])
R(c_sky130_fd_pr__nfet_01v8________, tap, [(-0.875,-10.715,0.875,-10.545), (-0.875,-10.545,-0.705,10.545), (0.705,-10.545,0.875,10.545), (-0.875,10.545,0.875,10.715)])
R(c_sky130_fd_pr__nfet_01v8________, poly, [(-0.075,-10.285,0.075,9.955), (-0.165,9.955,0.165,10.285)])
A(c_sky130_fd_pr__nfet_01v8________, licon, -0.875, -10.115, 0.17, 0.17, 1, 60, 0, 0.34)
A(c_sky130_fd_pr__nfet_01v8________, licon, -0.305, -9.93, 0.17, 0.17, 1, 58, 0, 0.34)
A(c_sky130_fd_pr__nfet_01v8________, licon, 0.135, -9.93, 0.17, 0.17, 1, 58, 0, 0.34)
R(c_sky130_fd_pr__nfet_01v8________, licon, [(-0.255,-10.715,-0.085,-10.545), (0.085,-10.715,0.255,-10.545), (-0.085,10.035,0.085,10.205), (-0.255,10.545,-0.085,10.715), (0.085,10.545,0.255,10.715)])
R(c_sky130_fd_pr__nfet_01v8________, li1, [(-0.875,-10.715,0.875,-10.545), (-0.875,-10.545,-0.705,10.545), (0.705,-10.545,0.875,10.545), (-0.305,-10.175,-0.135,9.865), (0.135,-10.175,0.305,9.865), (-0.165,10.035,0.165,10.205), (-0.875,10.545,0.875,10.715)])
A(c_sky130_fd_pr__nfet_01v8________, mcon, -0.305, -9.96, 0.17, 0.17, 1, 55, 0, 0.36)
A(c_sky130_fd_pr__nfet_01v8________, mcon, 0.135, -9.96, 0.17, 0.17, 1, 55, 0, 0.36)
R(c_sky130_fd_pr__nfet_01v8________, mcon, [(-0.085,10.035,0.085,10.205)])
R(c_sky130_fd_pr__nfet_01v8________, met1, [(-0.335,-10.155,-0.105,9.845), (0.105,-10.155,0.335,9.845), (-0.145,10.005,0.145,10.235)])
R(c_sky130_fd_pr__nfet_01v8________, nsdm, [(-0.49,-10.28,0.49,9.97)])
R(c_sky130_fd_pr__nfet_01v8________, psdm, [(-1,-10.84,1,-10.42), (-1,-10.42,-0.58,10.42), (0.58,-10.42,1,10.42), (-1,10.42,1,10.84)])
R(c_sky130_fd_pr__nfet_01v8________, npc, [(-0.185,9.935,0.185,10.305)])
R(c_sky130_fd_pr__nfet_01v8________, boundary, [(-0.79,-10.63,0.79,10.63)])

th_sw_main = lib.new_cell('th_sw_main')
R(th_sw_main, li1, [(3.14,-11.755,8.41,-11.585), (3.32,-11.585,3.49,-10.835), (4.9,-11.585,5.07,-10.845), (6.48,-11.585,6.65,-10.88), (8.06,-11.585,8.23,-10.815), (3.32,9.735,3.49,10.515), (4.9,9.78,5.07,10.515), (8.06,9.79,8.23,10.515), (6.48,9.795,6.65,10.515), (3.14,10.515,8.41,10.685)])
A(th_sw_main, mcon, 3.295, -11.755, 0.17, 0.17, 11, 2, 0.48, 22.27)
R(th_sw_main, met1_pin, [(2.92,9.08,3.09,9.25), (8.46,9.08,8.63,9.25), (3.295,10.515,3.465,10.685)])
A(th_sw_main, met1, 4.015, 9.47, 0.36, 0.26, 3, 1, 1.58, 0)
R(th_sw_main, met1, [(3.14,-11.91,8.41,-11.43), (2.92,-10.63,5.47,9.25), (6.08,-10.63,8.63,9.25), (4.015,9.9,7.535,10.16), (3.14,10.36,8.41,10.84)])
A(th_sw_main, via, 4.12, 9.525, 0.15, 0.15, 3, 1, 1.58, 0)
R(th_sw_main, via, [(4.12,9.955,4.27,10.105), (7.28,9.955,7.43,10.105)])
R(th_sw_main, met2_pin, [(5.645,10.57,5.905,10.83), (4.065,10.58,4.325,10.84)])
R(th_sw_main, met2, [(4.065,9.42,4.325,10.84), (5.645,9.42,5.905,10.84), (7.225,9.42,7.485,10.21)])
th_sw_main.add(gdstk.Reference(c_sky130_fd_pr__nfet_01v8______, (4.195,-0.535)))
th_sw_main.add(gdstk.Reference(c_sky130_fd_pr__nfet_01v8_______, (5.775,-0.535)))
th_sw_main.add(gdstk.Reference(c_sky130_fd_pr__nfet_01v8________, (7.355,-0.535)))
th_sw_main.add(gdstk.Label('VGS', (5.775,10.7), layer=69, texttype=5))
th_sw_main.add(gdstk.Label('CK', (4.195,10.71), layer=69, texttype=5))
th_sw_main.add(gdstk.Label('OUT', (3.005,9.165), layer=68, texttype=5))
th_sw_main.add(gdstk.Label('IN', (8.545,9.165), layer=68, texttype=5))
th_sw_main.add(gdstk.Label('VSS', (3.38,10.6), layer=68, texttype=5))

th_sw = lib.new_cell('th_sw')
R(th_sw, li1, [(54.795,0.815,55.12,0.985), (54.95,0.985,55.12,6.41), (47.545,23.155,48.335,30.885)])
A(th_sw, mcon, 54.95, 0.815, 0.17, 0.17, 1, 12, 0, 0.48)
R(th_sw, met1_pin, [(65.825,1.405,65.995,1.575), (48.65,1.89,48.82,2.06), (47.81,27.52,47.98,27.69)])
A(th_sw, met1, 58.945, 1.94, 1.28, 0.9, 6, 1, 2.56, 0)
R(th_sw, met1, [(54.795,0.66,55.275,6.41), (58.945,0.66,73.025,1.94), (48.335,0.985,49.125,2.815), (54.005,3.34,54.365,3.6), (66.625,8.25,67.905,9.065), (64.065,8.33,65.345,8.805), (69.185,8.33,70.465,9.065), (71.745,8.33,73.025,9.065), (53.62,8.805,65.345,9.065), (64.015,9.065,73.075,10.345), (54.005,12.085,54.365,12.345), (47.545,23.155,48.335,30.885)])
A(th_sw, via, 64.15, 9.15, 0.15, 0.15, 28, 4, 0.32, 0.32)
R(th_sw, via, [(54.11,3.395,54.26,3.545), (54.11,12.14,54.26,12.29)])
R(th_sw, met2_pin, [(77.335,-0.545,77.505,-0.375), (77.34,-0.035,77.51,0.135)])
R(th_sw, met2, [(53.395,-0.66,53.675,-0.6), (54.005,-0.66,54.285,-0.6), (53.395,-0.6,77.545,-0.34), (53.395,-0.34,53.675,-0.28), (54.005,-0.34,54.285,-0.28), (54.055,-0.08,77.545,0.18), (54.055,0.18,54.315,3.985), (54.055,3.985,55.475,4.245), (54.055,5.565,55.51,5.825), (54.055,5.825,54.315,12.395), (64.065,9.015,73.025,10.395), (64.065,29.885,73.025,31.265)])
A(th_sw, via2, 64.245, 9.205, 0.2, 0.2, 22, 3, 0.4, 0.4)
A(th_sw, via2, 64.245, 30.075, 0.2, 0.2, 22, 3, 0.4, 0.4)
R(th_sw, via2, [(53.435,-0.57,53.635,-0.37), (54.045,-0.57,54.245,-0.37)])
R(th_sw, met3_pin, [(65.78,30.62,65.95,30.79)])
A(th_sw, met3, 64.065, 10.37, 1.28, 19.54, 4, 1, 2.56, 0)
R(th_sw, met3, [(53.345,-0.635,54.335,-0.305), (53.675,-0.305,54.005,20.83), (64.015,9.04,73.075,10.37), (64.015,29.91,73.075,31.24)])
th_sw.add(gdstk.Reference(bootstrap, (47.15,21.32)))
th_sw.add(gdstk.Reference(th_sw_main, (65.635,-0.08), rotation=pi/2))
th_sw.add(gdstk.Label('CKB', (77.42,-0.46), layer=69, texttype=5))
th_sw.add(gdstk.Label('CK', (77.425,0.05), layer=69, texttype=5))
th_sw.add(gdstk.Label('OUT', (65.91,1.49), layer=68, texttype=5))
th_sw.add(gdstk.Label('VSS', (48.735,1.975), layer=68, texttype=5))
th_sw.add(gdstk.Label('VDD', (47.895,27.605), layer=68, texttype=5))
th_sw.add(gdstk.Label('IN', (65.865,30.705), layer=70, texttype=5))

lib.write_gds('th_sw.gds')
